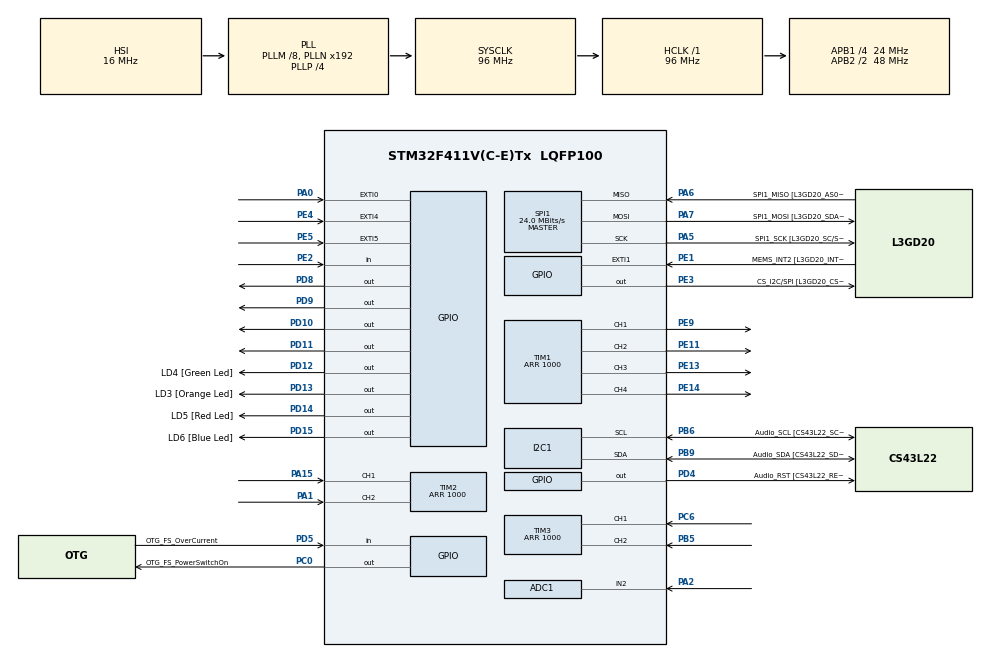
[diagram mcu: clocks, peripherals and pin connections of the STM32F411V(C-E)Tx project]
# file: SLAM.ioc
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ADC1.Channel-8\#ChannelRegularConversion=ADC_CHANNEL_2
ADC1.ContinuousConvMode=ENABLE
ADC1.EOCSelection=ADC_EOC_SEQ_CONV
ADC1.NbrOfConversionFlag=1
ADC1.Rank-8\#ChannelRegularConversion=1
ADC1.SamplingTime-8\#ChannelRegularConversion=ADC_SAMPLETIME_3CYCLES
ADC1.ScanConvMode=ENABLE
ADC1.master=1
I2C1.GeneralCallMode=I2C_GENERALCALL_DISABLE
I2C1.I2C_Mode=I2C_Standard
I2C1.NoStretchMode=I2C_NOSTRETCH_DISABLE
I2C1.OwnAddress=27
Mcu.Family=STM32F4
Mcu.Name=STM32F411V(C-E)Tx
Mcu.Package=LQFP100
NVIC.PriorityGroup=NVIC_PRIORITYGROUP_4
PA0-WKUP.GPIO_ModeDefaultEXTI=GPIO_MODE_EVT_RISING
PA0-WKUP.Signal=GPXTI0
PA1.GPIO_PuPd=GPIO_PULLUP
PA1.Signal=S_TIM2_CH2
PA10.GPIO_Label=OTG_FS_ID
PA10.Signal=USB_OTG_FS_ID
PA11.GPIO_Label=OTG_FS_DM
PA11.Signal=USB_OTG_FS_DM
PA12.GPIO_Label=OTG_FS_DP
PA12.Signal=USB_OTG_FS_DP
PA13.GPIO_Label=SWDIO
PA13.Signal=SYS_JTMS-SWDIO
PA14.GPIO_Label=SWCLK
PA14.Signal=SYS_JTCK-SWCLK
PA15.GPIO_PuPd=GPIO_PULLUP
PA15.Signal=S_TIM2_CH1_ETR
PA2.Signal=ADCx_IN2
PA4.GPIO_Label=I2S3_WS [CS43L22_LRCK]
PA4.GPIO_Mode=GPIO_MODE_AF_PP
PA4.GPIO_PuPd=GPIO_NOPULL
PA4.GPIO_Speed=GPIO_SPEED_FREQ_LOW
PA4.Signal=I2S3_WS
PA5.GPIO_Label=SPI1_SCK [L3GD20_SC/SPC]
PA5.Mode=Full_Duplex_Master
PA5.Signal=SPI1_SCK
PA6.GPIO_Label=SPI1_MISO [L3GD20_AS0/SDO]
PA6.Mode=Full_Duplex_Master
PA6.Signal=SPI1_MISO
PA7.GPIO_Label=SPI1_MOSI [L3GD20_SDA/SDI/SDO]
PA7.Mode=Full_Duplex_Master
PA7.Signal=SPI1_MOSI
PA9.GPIO_Label=VBUS_FS
PA9.Signal=USB_OTG_FS_VBUS
PB10.GPIO_Label=CLK_IN [MP45DT02_CLK]
PB10.Signal=I2S2_CK
PB12.Signal=I2S2_WS
PB3.GPIO_Label=SWO
PB3.Signal=SYS_JTDO-SWO
PB5.GPIO_PuPd=GPIO_PULLUP
PB5.Signal=S_TIM3_CH2
PB6.GPIO_Label=Audio_SCL [CS43L22_SCL]
PB6.GPIO_Mode=GPIO_MODE_AF_OD
PB6.GPIO_PuPd=GPIO_NOPULL
PB6.GPIO_Speed=GPIO_SPEED_FREQ_LOW
PB6.Mode=I2C
PB6.Signal=I2C1_SCL
PB9.GPIO_Label=Audio_SDA [CS43L22_SDA]
PB9.GPIO_Mode=GPIO_MODE_AF_OD
PB9.GPIO_PuPd=GPIO_NOPULL
PB9.GPIO_Speed=GPIO_SPEED_FREQ_LOW
PB9.Mode=I2C
PB9.Signal=I2C1_SDA
PC0.GPIO_Label=OTG_FS_PowerSwitchOn
PC0.Signal=GPIO_Output
PC10.GPIO_Label=I2S3_SCK [CS43L22_SCLK]
PC10.GPIO_Mode=GPIO_MODE_AF_PP
PC10.GPIO_PuPd=GPIO_NOPULL
PC10.GPIO_Speed=GPIO_SPEED_FREQ_LOW
PC10.Signal=I2S3_CK
PC12.GPIO_Label=I2S3_SD [CS43L22_SDIN]
PC12.GPIO_Mode=GPIO_MODE_AF_PP
PC12.GPIO_PuPd=GPIO_NOPULL
PC12.GPIO_Speed=GPIO_SPEED_FREQ_LOW
PC12.Signal=I2S3_SD
PC14-OSC32_IN.GPIO_Label=PC14-OSC32_IN
PC14-OSC32_IN.Signal=RCC_OSC32_IN
PC15-OSC32_OUT.GPIO_Label=PC15-OSC32_OUT
PC15-OSC32_OUT.Signal=RCC_OSC32_OUT
PC3.GPIO_Label=PDM_OUT [MP45DT02_DOUT]
PC3.Signal=I2S2_SD
PC6.GPIO_PuPd=GPIO_PULLUP
PC6.Signal=S_TIM3_CH1
PC7.GPIO_Label=I2S3_MCK [CS43L22_MCLK]
PC7.GPIO_Mode=GPIO_MODE_AF_PP
PC7.GPIO_PuPd=GPIO_NOPULL
PC7.GPIO_Speed=GPIO_SPEED_FREQ_LOW
PC7.Signal=I2S3_MCK
PD10.Signal=GPIO_Output
PD11.Signal=GPIO_Output
PD12.GPIO_Label=LD4 [Green Led]
PD12.GPIO_PuPd=GPIO_NOPULL
PD12.GPIO_Speed=GPIO_SPEED_FREQ_LOW
PD12.Signal=GPIO_Output
PD13.GPIO_Label=LD3 [Orange Led]
PD13.GPIO_PuPd=GPIO_NOPULL
PD13.GPIO_Speed=GPIO_SPEED_FREQ_LOW
PD13.Signal=GPIO_Output
PD14.GPIO_Label=LD5 [Red Led]
PD14.GPIO_PuPd=GPIO_NOPULL
PD14.GPIO_Speed=GPIO_SPEED_FREQ_LOW
PD14.Signal=GPIO_Output
PD15.GPIO_Label=LD6 [Blue Led]
PD15.GPIO_PuPd=GPIO_NOPULL
PD15.GPIO_Speed=GPIO_SPEED_FREQ_LOW
PD15.Signal=GPIO_Output
PD4.GPIO_Label=Audio_RST [CS43L22_RESET]
PD4.Signal=GPIO_Output
PD5.GPIO_Label=OTG_FS_OverCurrent
PD5.Signal=GPIO_Input
PD8.Signal=GPIO_Output
PD9.Signal=GPIO_Output
PE1.GPIO_Label=MEMS_INT2 [L3GD20_INT2]
PE1.GPIO_ModeDefaultEXTI=GPIO_MODE_EVT_RISING
PE1.Signal=GPXTI1
PE11.Signal=S_TIM1_CH2
PE13.Signal=S_TIM1_CH3
PE14.Signal=S_TIM1_CH4
PE2.Signal=GPIO_Input
PE3.GPIO_Label=CS_I2C/SPI [L3GD20_CS_I2C/SPI]
PE3.Signal=GPIO_Output
PE4.GPIO_ModeDefaultEXTI=GPIO_MODE_EVT_RISING
PE4.Signal=GPXTI4
PE5.GPIO_ModeDefaultEXTI=GPIO_MODE_EVT_RISING
PE5.Signal=GPXTI5
PE9.Signal=S_TIM1_CH1
PH0\ -\ OSC_IN.GPIO_Label=PH0-OSC_IN
PH0\ -\ OSC_IN.Signal=RCC_OSC_IN
PH1\ -\ OSC_OUT.GPIO_Label=PH1-OSC_OUT
PH1\ -\ OSC_OUT.Signal=RCC_OSC_OUT
ProjectManager.HeapSize=0x200
ProjectManager.StackSize=0x400
ProjectManager.TargetToolchain=SW4STM32
RCC.48MHZClocksFreq_Value=48000000
RCC.AHBFreq_Value=96000000
RCC.APB1CLKDivider=RCC_HCLK_DIV4
RCC.APB1Freq_Value=24000000
RCC.APB1TimFreq_Value=48000000
RCC.APB2CLKDivider=RCC_HCLK_DIV2
RCC.APB2Freq_Value=48000000
RCC.APB2TimFreq_Value=96000000
RCC.CortexFreq_Value=96000000
RCC.HCLKFreq_Value=96000000
RCC.HSE_VALUE=8000000
RCC.HSI_VALUE=16000000
RCC.LSE_VALUE=32768
RCC.PLLI2SM=5
RCC.PLLI2SN=200
RCC.PLLM=8
RCC.PLLP=RCC_PLLP_DIV4
RCC.PLLQ=8
RCC.SYSCLKFreq_VALUE=96000000
RCC.SYSCLKSource=RCC_SYSCLKSOURCE_PLLCLK
RCC.VCOOutputFreq_Value=384000000
SH.ADCx_IN2.0=ADC1_IN2,IN2
SH.S_TIM1_CH1.0=TIM1_CH1,PWM Generation1 CH1
SH.S_TIM1_CH2.0=TIM1_CH2,PWM Generation2 CH2
SH.S_TIM1_CH3.0=TIM1_CH3,PWM Generation3 CH3
SH.S_TIM1_CH4.0=TIM1_CH4,PWM Generation4 CH4
SH.S_TIM2_CH1_ETR.0=TIM2_CH1,Encoder_Interface
SH.S_TIM2_CH2.0=TIM2_CH2,Encoder_Interface
SH.S_TIM3_CH1.0=TIM3_CH1,Encoder_Interface
SH.S_TIM3_CH2.0=TIM3_CH2,Encoder_Interface
SPI1.BaudRatePrescaler=SPI_BAUDRATEPRESCALER_2
SPI1.CLKPhase=SPI_PHASE_1EDGE
SPI1.CLKPolarity=SPI_POLARITY_LOW
SPI1.CalculateBaudRate=24.0 MBits/s
SPI1.DataSize=SPI_DATASIZE_8BIT
SPI1.FirstBit=SPI_FIRSTBIT_MSB
SPI1.Mode=SPI_MODE_MASTER
TIM1.Channel-PWM\ Generation2\ CH2=TIM_CHANNEL_2
TIM1.Channel-PWM\ Generation3\ CH3=TIM_CHANNEL_3
TIM1.Channel-PWM\ Generation4\ CH4=TIM_CHANNEL_4
TIM1.Period=1000
TIM1.Pulse-PWM\ Generation1\ CH1=0
TIM1.Pulse-PWM\ Generation2\ CH2=0
TIM2.EncoderMode=TIM_ENCODERMODE_TI12
TIM2.IC1Filter=5
TIM2.IC2Filter=5
TIM2.Period=1000
TIM3.Channel-PWM\ Generation3\ CH3=TIM_CHANNEL_3
TIM3.Channel-PWM\ Generation4\ CH4=TIM_CHANNEL_4
TIM3.EncoderMode=TIM_ENCODERMODE_TI12
TIM3.IC1Filter=5
TIM3.IC2Filter=5
TIM3.Period=1000
board=STM32F411E-DISCO

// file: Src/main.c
/**
 ******************************************************************************
 * File Name          : main.c
 * Description        : Main program body
 ******************************************************************************
 *
 * COPYRIGHT(c) 2016 STMicroelectronics
 *
 * Redistribution and use in source and binary forms, with or without modification,
 * are permitted provided that the following conditions are met:
 *   1. Redistributions of source code must retain the above copyright notice,
 *      this list of conditions and the following disclaimer.
 *   2. Redistributions in binary form must reproduce the above copyright notice,
 *      this list of conditions and the following disclaimer in the documentation
 *      and/or other materials provided with the distribution.
 *   3. Neither the name of STMicroelectronics nor the names of its contributors
 *      may be used to endorse or promote products derived from this software
 *      without specific prior written permission.
 *
 * THIS SOFTWARE IS PROVIDED BY THE COPYRIGHT HOLDERS AND CONTRIBUTORS "AS IS"
 * AND ANY EXPRESS OR IMPLIED WARRANTIES, INCLUDING, BUT NOT LIMITED TO, THE
 * IMPLIED WARRANTIES OF MERCHANTABILITY AND FITNESS FOR A PARTICULAR PURPOSE ARE
 * DISCLAIMED. IN NO EVENT SHALL THE COPYRIGHT HOLDER OR CONTRIBUTORS BE LIABLE
 * FOR ANY DIRECT, INDIRECT, INCIDENTAL, SPECIAL, EXEMPLARY, OR CONSEQUENTIAL
 * DAMAGES (INCLUDING, BUT NOT LIMITED TO, PROCUREMENT OF SUBSTITUTE GOODS OR
 * SERVICES; LOSS OF USE, DATA, OR PROFITS; OR BUSINESS INTERRUPTION) HOWEVER
 * CAUSED AND ON ANY THEORY OF LIABILITY, WHETHER IN CONTRACT, STRICT LIABILITY,
 * OR TORT (INCLUDING NEGLIGENCE OR OTHERWISE) ARISING IN ANY WAY OUT OF THE USE
 * OF THIS SOFTWARE, EVEN IF ADVISED OF THE POSSIBILITY OF SUCH DAMAGE.
 *
 ******************************************************************************
 */
#include "stm32f4xx_hal.h"

/* USER CODE BEGIN Includes */

#include "GyroManager.h"
#include "AccelManager.h"
#include "MagnetManager.h"
#include "ReflectiveManager.h"
#include "MotorManager.h"
#include "ClockManager.h"
#include "Math.h"
#include "KalmanFilter.h"
#include "AngleCalculator.h"

/* USER CODE END Includes */

ADC_HandleTypeDef hadc1;

I2C_HandleTypeDef hi2c1;

SPI_HandleTypeDef hspi1;

TIM_HandleTypeDef htim1;
TIM_HandleTypeDef htim2;
TIM_HandleTypeDef htim3;

/* USER CODE BEGIN PV */
/* Private variables ---------------------------------------------------------*/

// main loop timing variables
uint32_t lastIMURead;
uint32_t lastOdometryRead;
uint32_t lastMotorControl;

uint32_t imuReadResolution = 10;
uint32_t odometryReadResolution = 10;
uint32_t motorControlResolution = 10;
uint32_t timeoutHelper = 15000;

// gyro
uint8_t gyroSetupCheck[] = { 0x00, 0x00 };
int16_t gyroReceiveBuffer[] = { 0, 0, 0 };

//accel
int16_t accelReceiveBuffer[] = { 0, 0, 0 };

//magnet
int16_t magnetReceiveBuffer[] = { 0, 0, 0 };

// adc
uint32_t reflectiveBuffer[] = { 0x00, 0x00, 0x00, 0x00, 0x00, 0x00, 0x00, 0x00 };
volatile int position = 0;
volatile float positionErrorSum = 0;
volatile int lastPositionError = 0;

// Kalman filter
KalmanFilter xAngleFilter = { 0.001, 0.003, 0.03, 0, 0, 0, 0, 0, 0 };
KalmanFilter yAngleFilter = { 0.001, 0.003, 0.03, 0, 0, 0, 0, 0, 0 };
KalmanFilter zAngleFilter = { 0.001, 0.003, 0.03, 0, 0, 0, 0, 0, 0 };

// map variables
int xMapSize = 20;
int yMapSize = 20;
float mapResolution = 5.0;

/* USER CODE END PV */

void SystemClock_Config(void);
static void MX_GPIO_Init(void);
static void MX_SPI1_Init(void);
static void MX_I2C1_Init(void);
static void MX_TIM1_Init(void);
static void MX_ADC1_Init(void);
static void MX_TIM2_Init(void);
static void MX_TIM3_Init(void);

void HAL_TIM_MspPostInit(TIM_HandleTypeDef *htim);

/* USER CODE BEGIN PFP */
/* Private function prototypes -----------------------------------------------*/

/* USER CODE END PFP */

/* USER CODE BEGIN 0 */

// filterend
/* USER CODE END 0 */

int mapSpeedBonus(float x, float y, float angle, int *trackMap[xMapSize][yMapSize]) {
	int scaledX = (int) floor(x / mapResolution);
	int scaledY = (int) floor(y / mapResolution);

	if (scaledX >= 9) {
		scaledX = 9;
	}
	if (scaledY >= 9) {
		scaledY = 9;
	}

	if (scaledX <= -10) {
		scaledX = -10;
	}
	if (scaledY <= -10) {
		scaledY = -10;
	}

	int xVector[] = { 0, 0, 0 };
	int yVector[] = { 0, 0, 0 };

	if (angle >= -135 && angle < -45) { // up
		yVector[0] = -1;
		yVector[1] = -2;
		yVector[2] = -3;
	} else if (angle >= -45 && angle < 45) { // right
		xVector[0] = 1;
		xVector[1] = 2;
		xVector[2] = 3;
	} else if (angle >= 45 && angle < 135) { // down
		yVector[0] = 1;
		yVector[1] = 2;
		yVector[2] = 3;
	} else if ((angle >= 135 && angle < 180) || (angle >= -180 && angle < -135)) { //left
		xVector[0] = -1;
		xVector[1] = -2;
		xVector[2] = -3;
	}

	int controlBonusSum = 0;
	float k = 0.0;

	for (int i = 0; i < 3; i++) {
		if ((scaledX + 10 + xVector[i] < xMapSize) && (scaledX + 10 + xVector[i] >= 0) && (scaledY + 10 + yVector[i] < yMapSize)
				&& (scaledY + 10 + yVector[i] >= 0)) {
			controlBonusSum += trackMap[(scaledX + 10 + xVector[i])][(scaledY + 10 + yVector[i])];
			k += 1.0;
		}
	}

	int controlBonus = (int) floor(controlBonusSum / k);

	if (controlBonus > 30) {
		controlBonus = 30;
	}

	return controlBonus;
}

void mapInit(int *trackMap[xMapSize][yMapSize]) {
	for (int i = 0; i < xMapSize; i++) {
		for (int j = 0; j < yMapSize; j++) {
			trackMap[i][j] = 0;
		}
	}
}

void addToMap(float x, float y, int *trackMap[xMapSize][yMapSize]) {
	float scaledX = x / mapResolution;
	float scaledY = y / mapResolution;

	if (scaledX >= 9) {
		scaledX = 9;
	}
	if (scaledY >= 9) {
		scaledY = 9;
	}

	if (scaledX <= -10) {
		scaledX = -10;
	}
	if (scaledY <= -10) {
		scaledY = -10;
	}

	trackMap[(int) floor(scaledX + 10)][(int) floor(scaledY + 10)] += 1;
}

float roundfToPi(float value) {
	while (value >= 180) {
		value -= 360;
	}
	while (value <= -180) {
		value += 360;
	}

	return value;
}

int main(void) {

	/* MCU Configuration----------------------------------------------------------*/

	/* Reset of all peripherals, Initializes the Flash interface and the Systick. */
	HAL_Init();

	/* Configure the system clock */
	SystemClock_Config();

	/* Initialize all configured peripherals */
	MX_GPIO_Init();
	MX_SPI1_Init();
	MX_I2C1_Init();
	MX_TIM1_Init();
	MX_ADC1_Init();
	MX_TIM2_Init();
	MX_TIM3_Init();

	/* USER CODE BEGIN 2 */
// peripheral init
	HAL_TIM_Base_Start(&htim1);
	HAL_TIM_PWM_Start(&htim1, TIM_CHANNEL_1);
	HAL_TIM_PWM_Start(&htim1, TIM_CHANNEL_2);
	HAL_TIM_PWM_Start(&htim1, TIM_CHANNEL_3);
	HAL_TIM_PWM_Start(&htim1, TIM_CHANNEL_4);

	HAL_TIM_Encoder_Start(&htim2, TIM_CHANNEL_ALL);
	HAL_TIM_Encoder_Start(&htim3, TIM_CHANNEL_ALL);

	sysTickInit();

// sensor setup
	accelSetup(&hi2c1);
	magnetSetup(&hi2c1);
	gyroSetup(&hspi1, gyroSetupCheck);

	HAL_ADC_Start(&hadc1);

	HAL_Delay(5000);

// sensor calibration
	accelCalibrate(&hi2c1);
	gyroCalibrate(&hspi1);
	/* USER CODE END 2 */

	/* Infinite loop */
	/* USER CODE BEGIN WHILE */

	//odometry
	float wheelTrack = 15.6; //odstep miedzy kolami
	float wheelRadius = 2.0; // promien kola w cm
	float wheelCircumference = 2.0 * wheelRadius * M_PI; // 2 * R * Pi
	float encoderScaleFactor = wheelCircumference / 1000.0;

	float lastLeftOdoRead = 100.0;
	float lastRightOdoRead = 100.0;
	TIM2->CNT = 100;
	TIM3->CNT = 100;

	volatile float xPosition = 0.0;
	volatile float yPosition = 0.0;
	volatile float heading = 0.0;
	volatile int trackMap[20][20];
	volatile float yaw = 0;

	mapInit(trackMap);

	while (1) {

		volatile uint32_t imuReadClockDifference = getSysTickCounterValue() - lastIMURead;
		if (imuReadClockDifference >= imuReadResolution) {

			lastIMURead = getSysTickCounterValue();
//gyro
			getGyroValues(&hspi1, gyroReceiveBuffer);
//accel
			getAccelValues(&hi2c1, accelReceiveBuffer);
//magnet
			getMagnetValues(&hi2c1, magnetReceiveBuffer);

//filtering
			volatile float xAngle = getAccAngle("x", accelReceiveBuffer);
			volatile float xGyroRate = getGyroRate("x", gyroReceiveBuffer, imuReadClockDifference);
			volatile float xRealAngle = (kalmanCalculate(xAngle, xGyroRate, imuReadClockDifference, &xAngleFilter) * 180 / 512) - 90;

			volatile float yAngle = getAccAngle("y", accelReceiveBuffer);
			volatile float yGyroRate = getGyroRate("y", gyroReceiveBuffer, imuReadClockDifference);
			volatile float yRealAngle = (kalmanCalculate(yAngle, yGyroRate, imuReadClockDifference, &yAngleFilter) * 180 / 512) - 90;

			//odometry read
			volatile float leftOdo = 0;
			volatile float rightOdo = 0;

			if (lastRightOdoRead > TIM2->CNT) {
				float diff = fabs(lastRightOdoRead - TIM2->CNT);
				if (diff > 500) {
					rightOdo = (1000 - lastRightOdoRead) + TIM2->CNT;
				} else {
					rightOdo = TIM2->CNT - lastRightOdoRead;
				}
			} else {
				rightOdo = TIM2->CNT - lastRightOdoRead;
			}

			if (lastLeftOdoRead > TIM3->CNT) {
				float diff = fabs(lastLeftOdoRead - TIM3->CNT);
				if (diff > 500) {
					leftOdo = (1000 - lastLeftOdoRead) + TIM3->CNT;
				} else {
					leftOdo = TIM3->CNT - lastLeftOdoRead;
				}
			} else {
				leftOdo = TIM3->CNT - lastLeftOdoRead;
			}

			lastRightOdoRead = TIM2->CNT;
			lastLeftOdoRead = TIM3->CNT;

			// location check
			volatile float displacement = (leftOdo + rightOdo) * encoderScaleFactor / 2.0;
			volatile float rotation = (leftOdo - rightOdo) * encoderScaleFactor / wheelTrack;

			heading += rotation;

			volatile float zAngle = (heading / M_PI) * 512;
			volatile float zGyroRate = getGyroRate("z", gyroReceiveBuffer, imuReadClockDifference);
			volatile float zRealAngle = kalmanCalculate(zAngle, zGyroRate, imuReadClockDifference, &zAngleFilter) * 180 / 512;
			yaw = roundfToPi(zRealAngle);

			volatile float headingRest = roundfToPi(heading);
			volatile float radians = yaw * M_PI / 180.0;

			xPosition += displacement * cos(headingRest / 2);
			yPosition += displacement * sin(headingRest / 2);
			addToMap(xPosition, yPosition, trackMap);
			//save to map

			// testing

			if (yaw >= -180 && yaw < -90) {
				HAL_GPIO_WritePin(GPIOD, GPIO_PIN_15, GPIO_PIN_SET); //blue
			} else {
				HAL_GPIO_WritePin(GPIOD, GPIO_PIN_15, GPIO_PIN_RESET);
			}
			if (yaw > -90 && yaw < 0) {
				HAL_GPIO_WritePin(GPIOD, GPIO_PIN_14, GPIO_PIN_SET); //red
			} else {
				HAL_GPIO_WritePin(GPIOD, GPIO_PIN_14, GPIO_PIN_RESET);
			}
			if (yaw >= 0 && yaw < 90) {
				HAL_GPIO_WritePin(GPIOD, GPIO_PIN_13, GPIO_PIN_SET); //orange
			} else {
				HAL_GPIO_WritePin(GPIOD, GPIO_PIN_13, GPIO_PIN_RESET);
			}
			if (yaw > 90 && yaw <= 180) {
				HAL_GPIO_WritePin(GPIOD, GPIO_PIN_12, GPIO_PIN_SET); //green
			} else {
				HAL_GPIO_WritePin(GPIOD, GPIO_PIN_12, GPIO_PIN_RESET);
			}

			//out of bounds
			if (yaw > 180 || yaw <= -180) {
				HAL_GPIO_WritePin(GPIOD, GPIO_PIN_15, GPIO_PIN_RESET);
				HAL_GPIO_WritePin(GPIOD, GPIO_PIN_14, GPIO_PIN_RESET);
				HAL_GPIO_WritePin(GPIOD, GPIO_PIN_13, GPIO_PIN_RESET);
				HAL_GPIO_WritePin(GPIOD, GPIO_PIN_12, GPIO_PIN_RESET);
			}

			int k = 1;
		}

		volatile uint32_t lastMotorControlClockDifference = getSysTickCounterValue() - lastMotorControl;
		if (lastMotorControlClockDifference >= motorControlResolution) {

			lastMotorControl = getSysTickCounterValue();

			// line position calculation
			reflectiveRead(&hadc1, reflectiveBuffer);

			volatile int sum = 0;
			volatile int valueSum = 0;
			volatile int minimum = 10000;

			for (int i = 0; i < 8; i++) {
				if (reflectiveBuffer[i] < minimum) {
					minimum = reflectiveBuffer[i];
				}
			}

			for (int i = 1; i < 9; i++) {

				valueSum = valueSum + reflectiveBuffer[i - 1] - minimum;
				sum = sum + (i * 1000 * (reflectiveBuffer[i - 1] - minimum));
			}

			position = sum / valueSum;

			// motor control
			float Kp = 0.05;
			float Ki = 0.001;
			float Kd = 0.0000001;
			int baseSpeed = 580;

			int error = 4500 - position;
			positionErrorSum += error;
			volatile float controlSignal = 0;
			volatile float pComponent = Kp * error;
			volatile float iComponent = Ki * lastMotorControlClockDifference * positionErrorSum * 0.001;
			volatile float dComponent = 0;
			if (lastPositionError != 0) {
				dComponent = Kd * abs((error - lastPositionError) / (lastMotorControlClockDifference));
			}

			int speedBonus = mapSpeedBonus(xPosition, yPosition, yaw, trackMap);

			controlSignal = pComponent + iComponent;

			TIM1->CCR1 = baseSpeed + speedBonus - controlSignal;
			TIM1->CCR2 = baseSpeed + speedBonus + controlSignal;

//			TIM1->CCR1 = 600;
//			TIM1->CCR2 = 600;

//			uint32_t timerValue = getSysTickCounterValue();
//			if (timerValue > timeoutHelper) {
//				TIM1->CCR1 = 0;
//				TIM1->CCR2 = 0;
//				TIM1->CCR1 = 0;
//				TIM1->CCR2 = 0;
//			}
		}
	}

	/* USER CODE END WHILE */

}

/** System Clock Configuration
 */
void SystemClock_Config(void) {

	RCC_OscInitTypeDef RCC_OscInitStruct;
	RCC_ClkInitTypeDef RCC_ClkInitStruct;

	__HAL_RCC_PWR_CLK_ENABLE();

	__HAL_PWR_VOLTAGESCALING_CONFIG(PWR_REGULATOR_VOLTAGE_SCALE1);
	RCC_OscInitStruct.OscillatorType = RCC_OSCILLATORTYPE_HSI;
	RCC_OscInitStruct.HSIState = RCC_HSI_ON;
	RCC_OscInitStruct.HSICalibrationValue = 16;
	RCC_OscInitStruct.PLL.PLLState = RCC_PLL_ON;
	RCC_OscInitStruct.PLL.PLLSource = RCC_PLLSOURCE_HSI;
	RCC_OscInitStruct.PLL.PLLM = 8;
	RCC_OscInitStruct.PLL.PLLN = 192;
	RCC_OscInitStruct.PLL.PLLP = RCC_PLLP_DIV4;
	RCC_OscInitStruct.PLL.PLLQ = 8;
	HAL_RCC_OscConfig(&RCC_OscInitStruct);

	RCC_ClkInitStruct.ClockType = RCC_CLOCKTYPE_HCLK | RCC_CLOCKTYPE_SYSCLK | RCC_CLOCKTYPE_PCLK1 | RCC_CLOCKTYPE_PCLK2;
	RCC_ClkInitStruct.SYSCLKSource = RCC_SYSCLKSOURCE_PLLCLK;
	RCC_ClkInitStruct.AHBCLKDivider = RCC_SYSCLK_DIV1;
	RCC_ClkInitStruct.APB1CLKDivider = RCC_HCLK_DIV4;
	RCC_ClkInitStruct.APB2CLKDivider = RCC_HCLK_DIV2;
	HAL_RCC_ClockConfig(&RCC_ClkInitStruct, FLASH_LATENCY_3);

	HAL_SYSTICK_Config(HAL_RCC_GetHCLKFreq() / 1000);

	HAL_SYSTICK_CLKSourceConfig (SYSTICK_CLKSOURCE_HCLK);

	/* SysTick_IRQn interrupt configuration */
	HAL_NVIC_SetPriority(SysTick_IRQn, 0, 0);
}

/* ADC1 init function */
void MX_ADC1_Init(void) {

	ADC_ChannelConfTypeDef sConfig;

	/**Configure the global features of the ADC (Clock, Resolution, Data Alignment and number of conversion)
	 */
	hadc1.Instance = ADC1;
	hadc1.Init.ClockPrescaler = ADC_CLOCK_SYNC_PCLK_DIV2;
	hadc1.Init.Resolution = ADC_RESOLUTION_12B;
	hadc1.Init.ScanConvMode = ENABLE;
	hadc1.Init.ContinuousConvMode = ENABLE;
	hadc1.Init.DiscontinuousConvMode = DISABLE;
	hadc1.Init.ExternalTrigConvEdge = ADC_EXTERNALTRIGCONVEDGE_NONE;
	hadc1.Init.DataAlign = ADC_DATAALIGN_RIGHT;
	hadc1.Init.NbrOfConversion = 1;
	hadc1.Init.DMAContinuousRequests = DISABLE;
	hadc1.Init.EOCSelection = ADC_EOC_SEQ_CONV;
	HAL_ADC_Init(&hadc1);

	/**Configure for the selected ADC regular channel its corresponding rank in the sequencer and its sample time.
	 */
	sConfig.Channel = ADC_CHANNEL_2;
	sConfig.Rank = 1;
	sConfig.SamplingTime = ADC_SAMPLETIME_3CYCLES;
	HAL_ADC_ConfigChannel(&hadc1, &sConfig);

}

/* I2C1 init function */
void MX_I2C1_Init(void) {

	hi2c1.Instance = I2C1;
	hi2c1.Init.ClockSpeed = 100000;
	hi2c1.Init.DutyCycle = I2C_DUTYCYCLE_2;
	hi2c1.Init.OwnAddress1 = 54;
	hi2c1.Init.AddressingMode = I2C_ADDRESSINGMODE_7BIT;
	hi2c1.Init.DualAddressMode = I2C_DUALADDRESS_DISABLE;
	hi2c1.Init.OwnAddress2 = 0;
	hi2c1.Init.GeneralCallMode = I2C_GENERALCALL_DISABLE;
	hi2c1.Init.NoStretchMode = I2C_NOSTRETCH_DISABLE;
	HAL_I2C_Init(&hi2c1);

}

/* SPI1 init function */
void MX_SPI1_Init(void) {

	hspi1.Instance = SPI1;
	hspi1.Init.Mode = SPI_MODE_MASTER;
	hspi1.Init.Direction = SPI_DIRECTION_2LINES;
	hspi1.Init.DataSize = SPI_DATASIZE_8BIT;
	hspi1.Init.CLKPolarity = SPI_POLARITY_LOW;
	hspi1.Init.CLKPhase = SPI_PHASE_1EDGE;
	hspi1.Init.NSS = SPI_NSS_SOFT;
	hspi1.Init.BaudRatePrescaler = SPI_BAUDRATEPRESCALER_2;
	hspi1.Init.FirstBit = SPI_FIRSTBIT_MSB;
	hspi1.Init.TIMode = SPI_TIMODE_DISABLE;
	hspi1.Init.CRCCalculation = SPI_CRCCALCULATION_DISABLE;
	hspi1.Init.CRCPolynomial = 10;
	HAL_SPI_Init(&hspi1);

}

/* TIM1 init function */
void MX_TIM1_Init(void) {

	TIM_MasterConfigTypeDef sMasterConfig;
	TIM_BreakDeadTimeConfigTypeDef sBreakDeadTimeConfig;
	TIM_OC_InitTypeDef sConfigOC;

	htim1.Instance = TIM1;
	htim1.Init.Prescaler = 0;
	htim1.Init.CounterMode = TIM_COUNTERMODE_UP;
	htim1.Init.Period = 1000;
	htim1.Init.ClockDivision = TIM_CLOCKDIVISION_DIV1;
	htim1.Init.RepetitionCounter = 0;
	HAL_TIM_PWM_Init(&htim1);

	sMasterConfig.MasterOutputTrigger = TIM_TRGO_RESET;
	sMasterConfig.MasterSlaveMode = TIM_MASTERSLAVEMODE_DISABLE;
	HAL_TIMEx_MasterConfigSynchronization(&htim1, &sMasterConfig);

	sBreakDeadTimeConfig.OffStateRunMode = TIM_OSSR_DISABLE;
	sBreakDeadTimeConfig.OffStateIDLEMode = TIM_OSSI_DISABLE;
	sBreakDeadTimeConfig.LockLevel = TIM_LOCKLEVEL_OFF;
	sBreakDeadTimeConfig.DeadTime = 0;
	sBreakDeadTimeConfig.BreakState = TIM_BREAK_DISABLE;
	sBreakDeadTimeConfig.BreakPolarity = TIM_BREAKPOLARITY_HIGH;
	sBreakDeadTimeConfig.AutomaticOutput = TIM_AUTOMATICOUTPUT_DISABLE;
	HAL_TIMEx_ConfigBreakDeadTime(&htim1, &sBreakDeadTimeConfig);

	sConfigOC.OCMode = TIM_OCMODE_PWM1;
	sConfigOC.Pulse = 0;
	sConfigOC.OCPolarity = TIM_OCPOLARITY_HIGH;
	sConfigOC.OCNPolarity = TIM_OCNPOLARITY_HIGH;
	sConfigOC.OCFastMode = TIM_OCFAST_DISABLE;
	sConfigOC.OCIdleState = TIM_OCIDLESTATE_RESET;
	sConfigOC.OCNIdleState = TIM_OCNIDLESTATE_RESET;
	HAL_TIM_PWM_ConfigChannel(&htim1, &sConfigOC, TIM_CHANNEL_1);

	HAL_TIM_PWM_ConfigChannel(&htim1, &sConfigOC, TIM_CHANNEL_2);

	HAL_TIM_PWM_ConfigChannel(&htim1, &sConfigOC, TIM_CHANNEL_3);

	HAL_TIM_PWM_ConfigChannel(&htim1, &sConfigOC, TIM_CHANNEL_4);

	HAL_TIM_MspPostInit(&htim1);

}

/* TIM2 init function */
void MX_TIM2_Init(void) {

	TIM_Encoder_InitTypeDef sConfig;
	TIM_MasterConfigTypeDef sMasterConfig;

	htim2.Instance = TIM2;
	htim2.Init.Prescaler = 0;
	htim2.Init.CounterMode = TIM_COUNTERMODE_UP;
	htim2.Init.Period = 1000;
	htim2.Init.ClockDivision = TIM_CLOCKDIVISION_DIV1;
	sConfig.EncoderMode = TIM_ENCODERMODE_TI12;
	sConfig.IC1Polarity = TIM_ICPOLARITY_RISING;
	sConfig.IC1Selection = TIM_ICSELECTION_DIRECTTI;
	sConfig.IC1Prescaler = TIM_ICPSC_DIV1;
	sConfig.IC1Filter = 5;
	sConfig.IC2Polarity = TIM_ICPOLARITY_RISING;
	sConfig.IC2Selection = TIM_ICSELECTION_DIRECTTI;
	sConfig.IC2Prescaler = TIM_ICPSC_DIV1;
	sConfig.IC2Filter = 5;
	HAL_TIM_Encoder_Init(&htim2, &sConfig);

	sMasterConfig.MasterOutputTrigger = TIM_TRGO_RESET;
	sMasterConfig.MasterSlaveMode = TIM_MASTERSLAVEMODE_DISABLE;
	HAL_TIMEx_MasterConfigSynchronization(&htim2, &sMasterConfig);

}

/* TIM3 init function */
void MX_TIM3_Init(void) {

	TIM_Encoder_InitTypeDef sConfig;
	TIM_MasterConfigTypeDef sMasterConfig;

	htim3.Instance = TIM3;
	htim3.Init.Prescaler = 0;
	htim3.Init.CounterMode = TIM_COUNTERMODE_UP;
	htim3.Init.Period = 1000;
	htim3.Init.ClockDivision = TIM_CLOCKDIVISION_DIV1;
	sConfig.EncoderMode = TIM_ENCODERMODE_TI12;
	sConfig.IC1Polarity = TIM_ICPOLARITY_RISING;
	sConfig.IC1Selection = TIM_ICSELECTION_DIRECTTI;
	sConfig.IC1Prescaler = TIM_ICPSC_DIV1;
	sConfig.IC1Filter = 5;
	sConfig.IC2Polarity = TIM_ICPOLARITY_RISING;
	sConfig.IC2Selection = TIM_ICSELECTION_DIRECTTI;
	sConfig.IC2Prescaler = TIM_ICPSC_DIV1;
	sConfig.IC2Filter = 5;
	HAL_TIM_Encoder_Init(&htim3, &sConfig);

	sMasterConfig.MasterOutputTrigger = TIM_TRGO_RESET;
	sMasterConfig.MasterSlaveMode = TIM_MASTERSLAVEMODE_DISABLE;
	HAL_TIMEx_MasterConfigSynchronization(&htim3, &sMasterConfig);

}

/** Configure pins as
 * Analog
 * Input
 * Output
 * EVENT_OUT
 * EXTI
 PC3   ------> I2S2_SD
 PA4   ------> I2S3_WS
 PB10   ------> I2S2_CK
 PB12   ------> I2S2_WS
 PC7   ------> I2S3_MCK
 PA9   ------> USB_OTG_FS_VBUS
 PA10   ------> USB_OTG_FS_ID
 PA11   ------> USB_OTG_FS_DM
 PA12   ------> USB_OTG_FS_DP
 PC10   ------> I2S3_CK
 PC12   ------> I2S3_SD
 */
void MX_GPIO_Init(void) {

	GPIO_InitTypeDef GPIO_InitStruct;

	/* GPIO Ports Clock Enable */
	__HAL_RCC_GPIOE_CLK_ENABLE();
	__HAL_RCC_GPIOC_CLK_ENABLE();
	__HAL_RCC_GPIOH_CLK_ENABLE();
	__HAL_RCC_GPIOA_CLK_ENABLE();
	__HAL_RCC_GPIOB_CLK_ENABLE();
	__HAL_RCC_GPIOD_CLK_ENABLE();

	/*Configure GPIO pin : PE2 */
	GPIO_InitStruct.Pin = GPIO_PIN_2;
	GPIO_InitStruct.Mode = GPIO_MODE_INPUT;
	GPIO_InitStruct.Pull = GPIO_NOPULL;
	HAL_GPIO_Init(GPIOE, &GPIO_InitStruct);

	/*Configure GPIO pin : CS_I2C_SPI_Pin */
	GPIO_InitStruct.Pin = CS_I2C_SPI_Pin;
	GPIO_InitStruct.Mode = GPIO_MODE_OUTPUT_PP;
	GPIO_InitStruct.Pull = GPIO_NOPULL;
	GPIO_InitStruct.Speed = GPIO_SPEED_FREQ_LOW;
	HAL_GPIO_Init(CS_I2C_SPI_GPIO_Port, &GPIO_InitStruct);

	/*Configure GPIO pins : PE4 PE5 MEMS_INT2_Pin */
	GPIO_InitStruct.Pin = GPIO_PIN_4 | GPIO_PIN_5 | MEMS_INT2_Pin;
	GPIO_InitStruct.Mode = GPIO_MODE_EVT_RISING;
	GPIO_InitStruct.Pull = GPIO_NOPULL;
	HAL_GPIO_Init(GPIOE, &GPIO_InitStruct);

	/*Configure GPIO pin : OTG_FS_PowerSwitchOn_Pin */
	GPIO_InitStruct.Pin = OTG_FS_PowerSwitchOn_Pin;
	GPIO_InitStruct.Mode = GPIO_MODE_OUTPUT_PP;
	GPIO_InitStruct.Pull = GPIO_NOPULL;
	GPIO_InitStruct.Speed = GPIO_SPEED_FREQ_LOW;
	HAL_GPIO_Init(OTG_FS_PowerSwitchOn_GPIO_Port, &GPIO_InitStruct);

	/*Configure GPIO pin : PDM_OUT_Pin */
	GPIO_InitStruct.Pin = PDM_OUT_Pin;
	GPIO_InitStruct.Mode = GPIO_MODE_AF_PP;
	GPIO_InitStruct.Pull = GPIO_NOPULL;
	GPIO_InitStruct.Speed = GPIO_SPEED_FREQ_LOW;
	GPIO_InitStruct.Alternate = GPIO_AF5_SPI2;
	HAL_GPIO_Init(PDM_OUT_GPIO_Port, &GPIO_InitStruct);

	/*Configure GPIO pin : PA0 */
	GPIO_InitStruct.Pin = GPIO_PIN_0;
	GPIO_InitStruct.Mode = GPIO_MODE_EVT_RISING;
	GPIO_InitStruct.Pull = GPIO_NOPULL;
	HAL_GPIO_Init(GPIOA, &GPIO_InitStruct);

	/*Configure GPIO pin : PA4 */
	GPIO_InitStruct.Pin = GPIO_PIN_4;
	GPIO_InitStruct.Mode = GPIO_MODE_AF_PP;
	GPIO_InitStruct.Pull = GPIO_NOPULL;
	GPIO_InitStruct.Speed = GPIO_SPEED_FREQ_LOW;
	GPIO_InitStruct.Alternate = GPIO_AF6_SPI3;
	HAL_GPIO_Init(GPIOA, &GPIO_InitStruct);

	/*Configure GPIO pins : CLK_IN_Pin PB12 */
	GPIO_InitStruct.Pin = CLK_IN_Pin | GPIO_PIN_12;
	GPIO_InitStruct.Mode = GPIO_MODE_AF_PP;
	GPIO_InitStruct.Pull = GPIO_NOPULL;
	GPIO_InitStruct.Speed = GPIO_SPEED_FREQ_LOW;
	GPIO_InitStruct.Alternate = GPIO_AF5_SPI2;
	HAL_GPIO_Init(GPIOB, &GPIO_InitStruct);

	/*Configure GPIO pins : PD8 PD9 PD10 PD11
	 LD4_Pin LD3_Pin LD5_Pin LD6_Pin
	 Audio_RST_Pin */
	GPIO_InitStruct.Pin = GPIO_PIN_8 | GPIO_PIN_9 | GPIO_PIN_10 | GPIO_PIN_11 | LD4_Pin | LD3_Pin | LD5_Pin | LD6_Pin | Audio_RST_Pin;
	GPIO_InitStruct.Mode = GPIO_MODE_OUTPUT_PP;
	GPIO_InitStruct.Pull = GPIO_NOPULL;
	GPIO_InitStruct.Speed = GPIO_SPEED_FREQ_LOW;
	HAL_GPIO_Init(GPIOD, &GPIO_InitStruct);

	/*Configure GPIO pins : PC7 I2S3_SCK_Pin PC12 */
	GPIO_InitStruct.Pin = GPIO_PIN_7 | I2S3_SCK_Pin | GPIO_PIN_12;
	GPIO_InitStruct.Mode = GPIO_MODE_AF_PP;
	GPIO_InitStruct.Pull = GPIO_NOPULL;
	GPIO_InitStruct.Speed = GPIO_SPEED_FREQ_LOW;
	GPIO_InitStruct.Alternate = GPIO_AF6_SPI3;
	HAL_GPIO_Init(GPIOC, &GPIO_InitStruct);

	/*Configure GPIO pin : VBUS_FS_Pin */
	GPIO_InitStruct.Pin = VBUS_FS_Pin;
	GPIO_InitStruct.Mode = GPIO_MODE_INPUT;
	GPIO_InitStruct.Pull = GPIO_NOPULL;
	HAL_GPIO_Init(VBUS_FS_GPIO_Port, &GPIO_InitStruct);

	/*Configure GPIO pins : OTG_FS_ID_Pin OTG_FS_DM_Pin OTG_FS_DP_Pin */
	GPIO_InitStruct.Pin = OTG_FS_ID_Pin | OTG_FS_DM_Pin | OTG_FS_DP_Pin;
	GPIO_InitStruct.Mode = GPIO_MODE_AF_PP;
	GPIO_InitStruct.Pull = GPIO_NOPULL;
	GPIO_InitStruct.Speed = GPIO_SPEED_FREQ_VERY_HIGH;
	GPIO_InitStruct.Alternate = GPIO_AF10_OTG_FS;
	HAL_GPIO_Init(GPIOA, &GPIO_InitStruct);

	/*Configure GPIO pin : OTG_FS_OverCurrent_Pin */
	GPIO_InitStruct.Pin = OTG_FS_OverCurrent_Pin;
	GPIO_InitStruct.Mode = GPIO_MODE_INPUT;
	GPIO_InitStruct.Pull = GPIO_NOPULL;
	HAL_GPIO_Init(OTG_FS_OverCurrent_GPIO_Port, &GPIO_InitStruct);

	/*Configure GPIO pin Output Level */
	HAL_GPIO_WritePin(CS_I2C_SPI_GPIO_Port, CS_I2C_SPI_Pin, GPIO_PIN_RESET);

	/*Configure GPIO pin Output Level */
	HAL_GPIO_WritePin(OTG_FS_PowerSwitchOn_GPIO_Port, OTG_FS_PowerSwitchOn_Pin, GPIO_PIN_RESET);

	/*Configure GPIO pin Output Level */
	HAL_GPIO_WritePin(GPIOD, GPIO_PIN_8 | GPIO_PIN_9 | GPIO_PIN_10 | GPIO_PIN_11 | LD4_Pin | LD3_Pin | LD5_Pin | LD6_Pin | Audio_RST_Pin, GPIO_PIN_RESET);

}

/************************ (C) COPYRIGHT STMicroelectronics *****END OF FILE****/
